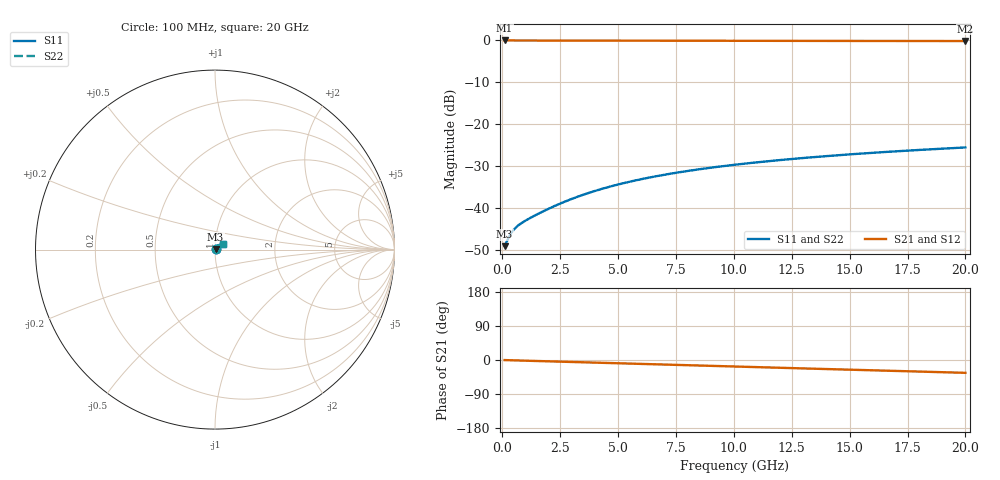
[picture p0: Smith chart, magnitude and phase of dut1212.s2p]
! Touchstone file exported from HFSS 2026.1.0
!  File:  C:/ffzhzh/LocalFiles/Ansys_Project_Files/temp_train_BSMRDL_1212_1783176659_43440.aedt
!  Generated:  10:52:07 PM Jul  4, 2026
!  Design:  BSMRDL
!  Project:  temp_train_BSMRDL_1212_1783176659_43440
! Variables:
!  h_bsmrdl = 3.31um
!  h_ox = 20um
!  h_rdl = 5um
!  h_sub = 80um
!  h_tmrdl = 5um
!  h_tsv = 80um
!  h_via = 3um
!  l_bsmrdl = 600.75um
!  l_sub = 1000.75um
!  l_tmrdl = 200um
!  m_sub = 200um
!  pitch = 25.39um
!  r_tsv = 6um
!  s_tmrdl = 10um
!  w_bsmrdl = 20.63um
!  w_sub = 500um
!  w_tmrdl = 12um
!  x_tsv_center1 = 206um
!  x_tsv_center2 = 827.38um
!  x_tsv_center3 = 1039.38um
!  x_tsv_center4 = 1660.76um
!  x_tsv_center5 = 1872.76um
!  x_tsv_center6 = 2494.14um
# GHz S MA R 50.000000
! Terminal data exported
! Port[1] = BSM_RDL1_1_T1
! Port[2] = BSM_RDL1_1_T2
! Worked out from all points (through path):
!   200 points, 100 MHz to 20 GHz, reference 50 ohm
!   highest |S21| = -0.03 dB at 100 MHz (marker M1); lowest = -0.2 dB at 20 GHz (marker M2)
!   group delay of S21, straight-line fit = 4.69 ps
!   lowest |S11| = -49.2 dB at 100 MHz (marker M3), VSWR 1.01, Z = 50.3 + j0.086 ohm
!   |S11| at or under -10 dB: start of sweep to end of sweep
!   |S22| runs from -49.2 to -25.6 dB; largest |S21 - S12| = 2.1e-15
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0.1  0.003482 14.2  0.9966 -0.2  0.9966 -0.2  0.003482 14.2
! Gamma 0 0 0 0
! Port Impedance 50 0 50 0
0.3  0.004558 28.2  0.996 -0.6  0.996 -0.6  0.004558 28.2
0.4  0.00507 30.8  0.9957 -0.8  0.9957 -0.8  0.005068 30.7
0.5  0.005503 32.4  0.9954 -0.9  0.9954 -0.9  0.0055 32.3
0.6  0.005871 33.6  0.9952 -1.1  0.9952 -1.1  0.005867 33.6
0.8  0.006487 36.0  0.9949 -1.5  0.9949 -1.5  0.00648 35.9
1  0.007028 38.4  0.9946 -1.8  0.9946 -1.8  0.00702 38.4
1.3  0.007812 41.9  0.9944 -2.3  0.9944 -2.3  0.007804 41.9
2.1  0.01004 49.3  0.9939 -3.7  0.9939 -3.7  0.01003 49.3
2.8  0.01215 53.0  0.9935 -4.9  0.9935 -4.9  0.01215 53.1
3.5  0.01433 55.1  0.993 -6.1  0.993 -6.1  0.01432 55.2
4.2  0.01652 56.1  0.9925 -7.3  0.9925 -7.3  0.01651 56.1
5  0.01898 56.3  0.9918 -8.7  0.9918 -8.7  0.01897 56.4
5.9  0.02167 55.9  0.991 -10.2  0.991 -10.2  0.02165 56.0
6.8  0.02425 55.1  0.9902 -11.8  0.9902 -11.8  0.02423 55.2
8.3  0.02832 53.3  0.9888 -14.3  0.9888 -14.3  0.02828 53.4
10.1  0.03282 50.8  0.9872 -17.4  0.9872 -17.4  0.03276 51.0
11.7  0.03652 48.5  0.9859 -20.0  0.9859 -20.0  0.03645 48.7
13.4  0.04019 46.0  0.9846 -22.9  0.9846 -22.9  0.0401 46.3
15  0.04345 43.7  0.9834 -25.5  0.9834 -25.5  0.04333 44.0
16.7  0.04672 41.2  0.9823 -28.4  0.9823 -28.4  0.04657 41.6
20  0.05255 36.5  0.9803 -33.9  0.9803 -33.9  0.05235 36.9
